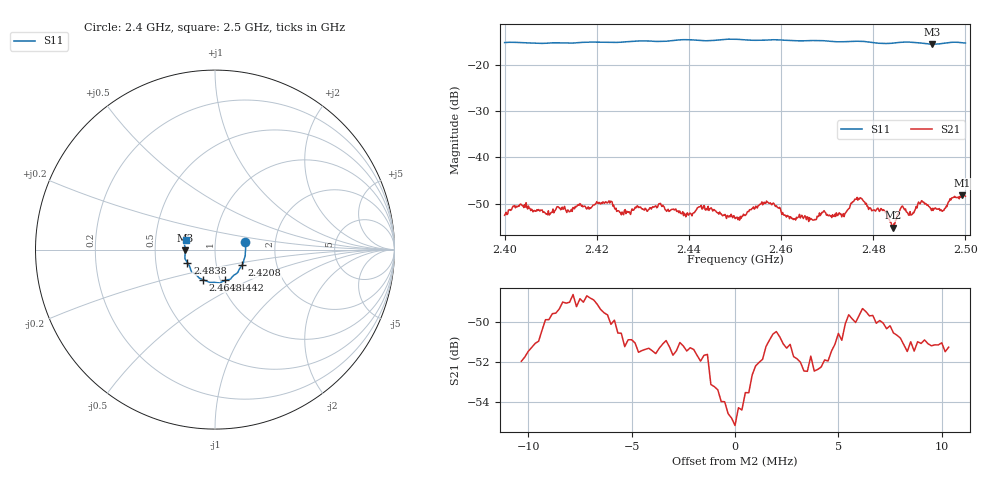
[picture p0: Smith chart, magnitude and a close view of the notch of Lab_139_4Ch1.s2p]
# Hz S RI R 50
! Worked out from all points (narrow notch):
!   601 points, 2.4 GHz to 2.5 GHz, reference 50 ohm
!   highest |S21| = -48.18 dB at 2.4993 GHz (marker M1); lowest = -55.2 dB at 2.4843 GHz (marker M2)
!   notch at M2: 3.9 dB deep, 1.75 MHz wide at half that depth
!   lowest |S11| = -15.6 dB at 2.4928 GHz (marker M3), VSWR 1.40, Z = 35.8 - j0.341 ohm
!   |S11| at or under -10 dB: start of sweep to end of sweep
!   S12 and S22 are empty: the file has one direction only
!   S11 on the Smith chart (normalised r, x): 2.4 GHz: 1.40, +0.12; 2.4208 GHz: 1.33, -0.24; 2.4442 GHz: 1.05, -0.37; 2.4648 GHz: 0.83, -0.29; 2.4838 GHz: 0.73, -0.11; 2.5 GHz: 0.72, +0.08
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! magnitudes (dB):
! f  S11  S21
! 2.4 GHz  -15.3  -52.5
! 2.4035 GHz  -15.3  -50.1
! 2.4093 GHz  -15.4  -52.4
! 2.4167 GHz  -15.2  -50.5
! 2.4208 GHz  -15.2  -50.1
! 2.4253 GHz  -15.2  -52.4
! 2.4333 GHz  -15.0  -50.3
! 2.4393 GHz  -14.6  -52.8
! 2.4442 GHz  -14.9  -50.6
! 2.45 GHz  -14.5  -53.2
! 2.4568 GHz  -14.7  -49.4
! 2.4648 GHz  -14.9  -53.2
! 2.4667 GHz  -14.8  -53.3
! 2.4737 GHz  -15.1  -52.8
! 2.477 GHz  -15.0  -49.0
! 2.4833 GHz  -15.5  -53.2
! 2.4838 GHz  -15.4  -54.0
! 2.4843 GHz  -15.4  -55.2
! 2.4863 GHz  -15.2  -50.5
! 2.4928 GHz  -15.6  -51.0
! 2.4993 GHz  -15.3  -48.2
! 2.5 GHz  -15.4  -48.4
